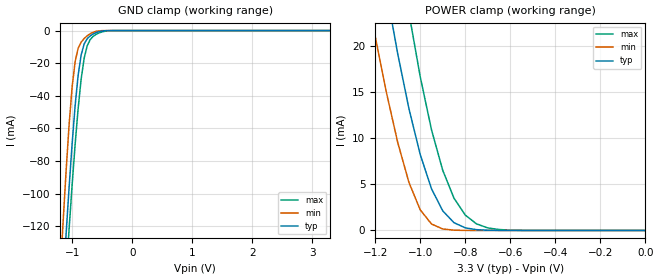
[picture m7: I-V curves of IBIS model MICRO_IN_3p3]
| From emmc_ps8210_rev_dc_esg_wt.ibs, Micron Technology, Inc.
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|   Model MICRO_IN_3p3
[Model]   MICRO_IN_3p3
Model_type   Input
Vinl = 1.10V
Vinh = 1.85V
|   typ   min   max
C_comp   7.500pF   6.460pF   8.360pF
[Voltage Range]   3.300V   2.700V   3.600V
| Junction Temperature (Ambient temp is 35C typ, -25C min, 85C max)
[Temperature Range]   50.0   -25.0   100.0
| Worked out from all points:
|   GND clamp passes 1 mA (typ) near -0.58 V on its own axis
|   POWER clamp passes 1 mA (typ) near -0.86 V on its own axis
[GND_clamp]
|   Voltage   I(typ)   I(min)   I(max)
-3.3V     -1.744A    -1.8A      -1.714A
-1.2V     -186.2mA   -149.8mA   -210.2mA
-1.15V    -154.6mA   -116.7mA   -179.4mA
-1.1V     -124.2mA   -85.51mA   -149.7mA
-1.05V    -95.54mA   -57.21mA   -121.1mA
-1V       -69.13mA   -34.35mA   -94.25mA
-950mV    -45.76mA   -18.89mA   -69.53mA
-900mV    -27.24mA   -10.82mA   -47.64mA
-800mV    -8.18mA    -4.866mA   -16.88mA
-700mV    -3.251mA   -1.955mA   -5.517mA
-350mV    -6.269uA   -153.2nA   -50.6uA
3.3V      244.6pA    981.6pA    8.378nA
[POWER_clamp]
|   Voltage   I(typ)   I(min)   I(max)
-3.3V     427.6mA    359.5mA    533.2mA
-1.25V    40.9mA     27.6mA     58.38mA
-1.2V     33.16mA    21.01mA    48.89mA
-1.15V    25.86mA    14.91mA    39.83mA
-1.1V     19.13mA    9.532mA    31.32mA
-1.05V    13.17mA    5.191mA    23.52mA
-1V       8.218mA    2.232mA    16.64mA
-950mV    4.513mA    701.3uA    10.9mA
-900mV    2.123mA    160.5uA    6.502mA
-800mV    282.9uA    6.712uA    1.669mA
-650mV    7.637uA    9.458nA    102.2uA
0V        244.5pA    50.78pA    9.319nA
